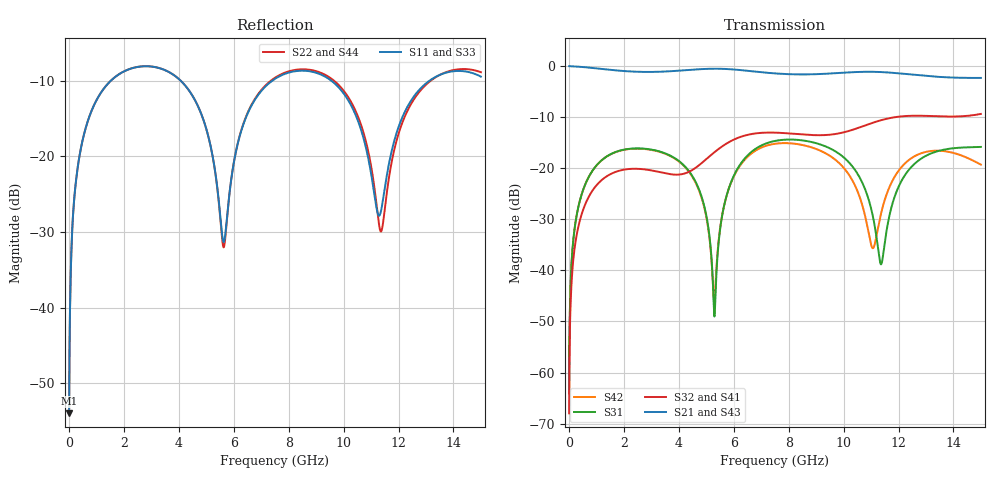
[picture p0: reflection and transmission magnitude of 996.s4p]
! Created with skrf 1.8.0 (http://scikit-rf.org).
# GHz S RI R 50.0
!freq ReS11 ImS11 ReS12 ImS12 ReS13 ImS13
! ReS14 ImS14
! ReS21 ImS21 ReS22 ImS22 ReS23 ImS23
! ReS24 ImS24
! ReS31 ImS31 ReS32 ImS32 ReS33 ImS33
! ReS34 ImS34
! ReS41 ImS41 ReS42 ImS42 ReS43 ImS43
! ReS44 ImS44
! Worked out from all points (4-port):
!   2499 points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, 5 MHz to 15 GHz, reference 50 ohm
!   strongest paths, dB at 5 MHz, 3.476 GHz, 7.19 GHz, 11.1 GHz, 15 GHz:
!     S21: 0.0, -1.1, -1.3, -1.1, -2.3
!     S43: 0.0, -1.1, -1.3, -1.1, -2.3
!     S32: -68.0, -21.0, -13.0, -11.0, -9.4
!     S41: -68.0, -21.0, -13.1, -11.0, -9.4
!     S31: -64.0, -17.0, -15.1, -30.2, -15.8
!     S42: -64.0, -17.1, -15.6, -35.5, -19.3
!   lowest |S11| = -54.0 dB at 5 MHz (marker M1), VSWR 1.00, Z = 50.2 + j0.122 ohm
!   |S11| at or under -10 dB: start of sweep to 1.53 GHz; 4.062 GHz to 7.41 GHz (3.348 GHz wide, 58.4 % of centre); 9.547 GHz to 13.13 GHz (3.586 GHz wide, 31.6 % of centre)
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0.005  0.00159 0.00121  0.9984 -0.0031  7.95e-05 0.000623  -7.73e-05 -0.000392
       0.9984 -0.0031  0.00159 0.00121  -7.73e-05 -0.000392  7.95e-05 0.000623
       7.95e-05 0.000623  -7.73e-05 -0.000392  0.00159 0.00121  0.9984 -0.0031
       -7.73e-05 -0.000392  7.95e-05 0.000623  0.9984 -0.0031  0.00159 0.00121
0.3126303  0.0229 0.0799  0.9688 -0.193  0.0104 0.0371  -0.0086 -0.0231
           0.9688 -0.193  0.0229 0.0799  -0.00861 -0.0231  0.0103 0.0371
           0.0104 0.0371  -0.00861 -0.0231  0.0228 0.0799  0.9688 -0.193
           -0.0086 -0.0231  0.0103 0.0371  0.9688 -0.193  0.0229 0.0799
1.569404  0.2648 0.1815  0.5613 -0.723  0.1254 0.0613  -0.0887 -0.0082
          0.5613 -0.723  0.2653 0.1812  -0.0888 -0.00807  0.1239 0.0632
          0.1254 0.0613  -0.0888 -0.00807  0.2647 0.1816  0.5613 -0.723
          -0.0887 -0.0082  0.1239 0.0632  0.5613 -0.723  0.2653 0.1811
5.295957  0.0406 -0.0752  -0.9083 -0.2521  -0.00354 -9.77e-05  -0.035 0.1391
          -0.9083 -0.2521  0.0386 -0.0757  -0.0329 0.1396  -0.00473 0.000545
          -0.00354 -9.77e-05  -0.0329 0.1396  0.0405 -0.0747  -0.9084 -0.2518
          -0.035 0.1391  -0.00473 0.000545  -0.9084 -0.2518  0.0384 -0.0752
8.797416  0.3607 -0.0437  0.0248 0.8303  0.1443 -0.1102  0.1971 -0.0708
          0.0248 0.8303  0.3686 -0.05  0.1974 -0.0763  0.1447 -0.0712
          0.1443 -0.1102  0.1974 -0.0763  0.3624 -0.04  0.0247 0.8293
          0.1971 -0.0708  0.1447 -0.0712  0.0247 0.8293  0.3717 -0.0538
11.36098  0.0406 0.015  0.8677 0.1079  -0.00916 0.00691  0.0337 -0.2932
          0.8677 0.1079  0.0318 0.000345  0.0233 -0.2942  0.0299 0.0197
          -0.00916 0.00691  0.0233 -0.2942  0.0482 0.0106  0.8674 0.1099
          0.0337 -0.2932  0.0299 0.0197  0.8674 0.1099  0.026 -0.00543
15  0.3294 -0.0649  -0.1866 -0.7432  -0.0512 -0.1534  -0.3316 0.0777
    -0.1866 -0.7432  0.3537 -0.0629  -0.3275 0.0921  -0.0284 -0.1048
    -0.0512 -0.1534  -0.3275 0.0921  0.3267 -0.0645  -0.1872 -0.7445
    -0.3316 0.0777  -0.0284 -0.1048  -0.1872 -0.7445  0.35 -0.0613
